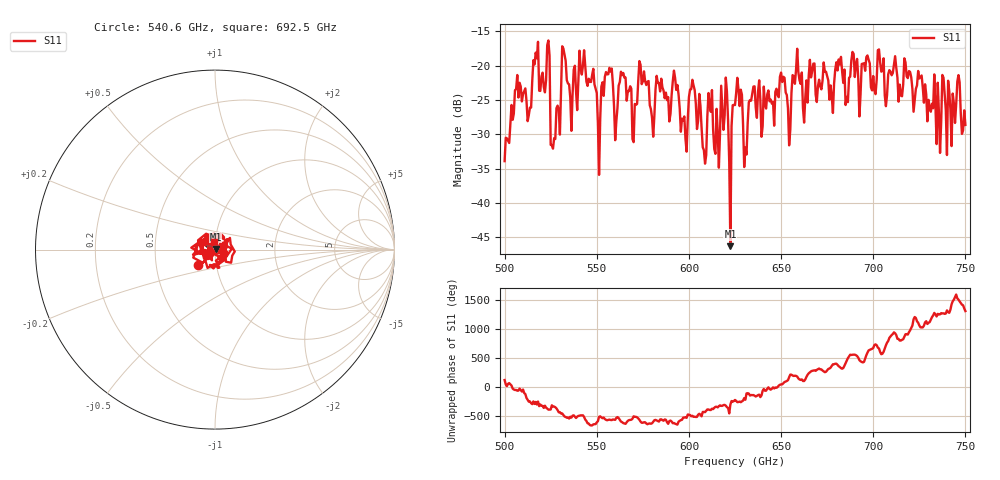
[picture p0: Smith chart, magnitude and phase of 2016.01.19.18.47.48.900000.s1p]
!Created with skrf (http://scikit-rf.org).
# GHz S RI R 50.0
!freq ReS11 ImS11
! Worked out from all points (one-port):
!   401 points, 500 GHz to 750 GHz, reference 50 ohm
!   lowest |S11| = -46.3 dB at 622.5 GHz (marker M1), VSWR 1.01, Z = 50.3 + j0.398 ohm
!   |S11| at or under -10 dB: start of sweep to end of sweep
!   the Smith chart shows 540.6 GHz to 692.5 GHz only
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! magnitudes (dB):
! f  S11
! 500 GHz  -33.9
! 506.9 GHz  -21.4
! 513.1 GHz  -27.2
! 516.9 GHz  -18.1
! 523.1 GHz  -17.0
! 526.2 GHz  -32.1
! 531.2 GHz  -17.2
! 541.9 GHz  -21.3
! 550.6 GHz  -28.4
! 562.5 GHz  -22.4
! 570.6 GHz  -25.6
! 574.4 GHz  -22.7
! 580 GHz  -27.6
! 593.8 GHz  -22.8
! 598.1 GHz  -30.7
! 601.9 GHz  -22.1
! 608.1 GHz  -32.3
! 611.2 GHz  -25.8
! 615 GHz  -26.3
! 619.4 GHz  -27.3
! 622.5 GHz  -46.3
! 625 GHz  -25.8
! 630.6 GHz  -31.9
! 634.4 GHz  -24.1
! 656.2 GHz  -21.4
! 687.5 GHz  -21.6
! 718.8 GHz  -21.8
! 750 GHz  -28.6
